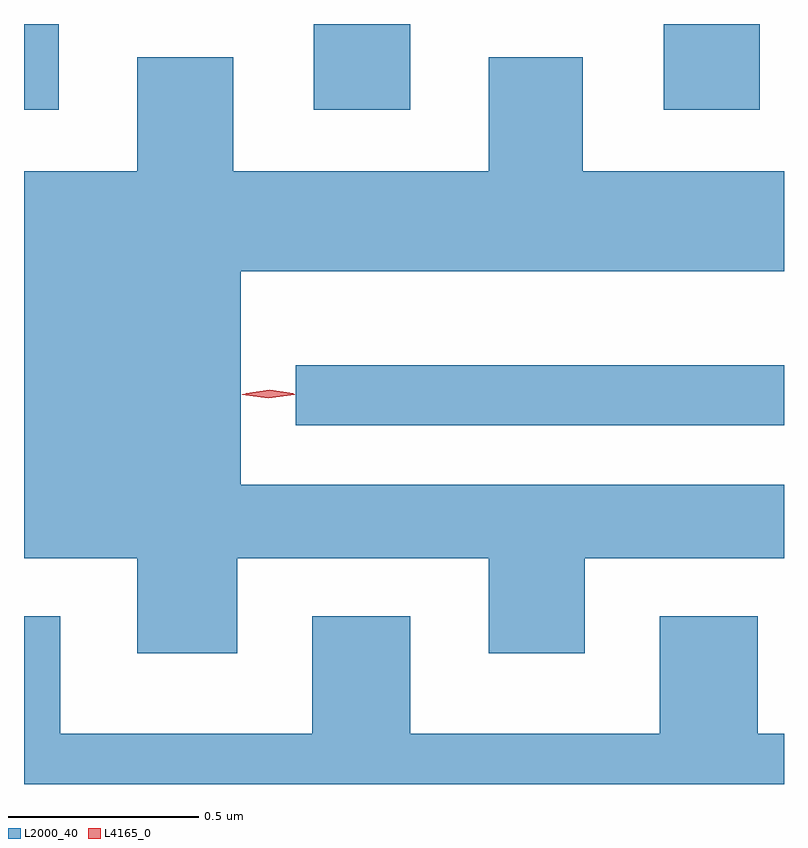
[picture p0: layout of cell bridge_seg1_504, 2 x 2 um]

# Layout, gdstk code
import gdstk
lib = gdstk.Library(unit=1e-6, precision=1e-09)
def R(c, l, rs):  # rectangles x0, y0, x1, y1
    for r in rs: c.add(gdstk.rectangle(r[:2], r[2:], *l))
def P(c, l, *ps):  # polygons
    for p in ps: c.add(gdstk.Polygon(p, *l))
L2000_40 = (2000, 40)
L4165_0 = (4165, 0)

bridge_seg1_504 = lib.new_cell('bridge_seg1_504')
R(bridge_seg1_504, L2000_40, [(481.443,847.376,482.728,847.534), (480.728,848.206,480.819,848.432), (481.491,848.206,481.744,848.432), (482.411,848.206,482.664,848.432)])
P(bridge_seg1_504, L2000_40, [(481.289,847.026),(481.951,847.026),(481.951,846.776),(482.204,846.776),(482.204,847.026),(482.728,847.026),(482.728,847.219),(481.299,847.219),(481.299,847.781),(482.728,847.781),(482.728,848.044),(482.199,848.044),(482.199,848.344),(481.951,848.344),(481.951,848.044),(481.279,848.044),(481.279,848.344),(481.026,848.344),(481.026,848.044),(480.728,848.044),(480.728,847.026),(481.026,847.026),(481.026,846.776),(481.289,846.776)],
  [(482.728,846.564),(482.659,846.564),(482.659,846.874),(482.401,846.874),(482.401,846.564),(481.744,846.564),(481.744,846.874),(481.486,846.874),(481.486,846.564),(480.824,846.564),(480.824,846.874),(480.728,846.874),(480.728,846.432),(482.728,846.432)])
P(bridge_seg1_504, L4165_0, [(481.375,847.45),(481.313,847.459),(481.312,847.46),(481.313,847.46),(481.375,847.47),(481.436,847.46),(481.437,847.46),(481.436,847.459)],
  [(481.371,847.447),(481.302,847.457),(481.302,847.457),(481.302,847.458),(481.371,847.467),(481.44,847.458),(481.44,847.457),(481.44,847.457)])

lib.write_gds('bridge_seg1_504.gds')
